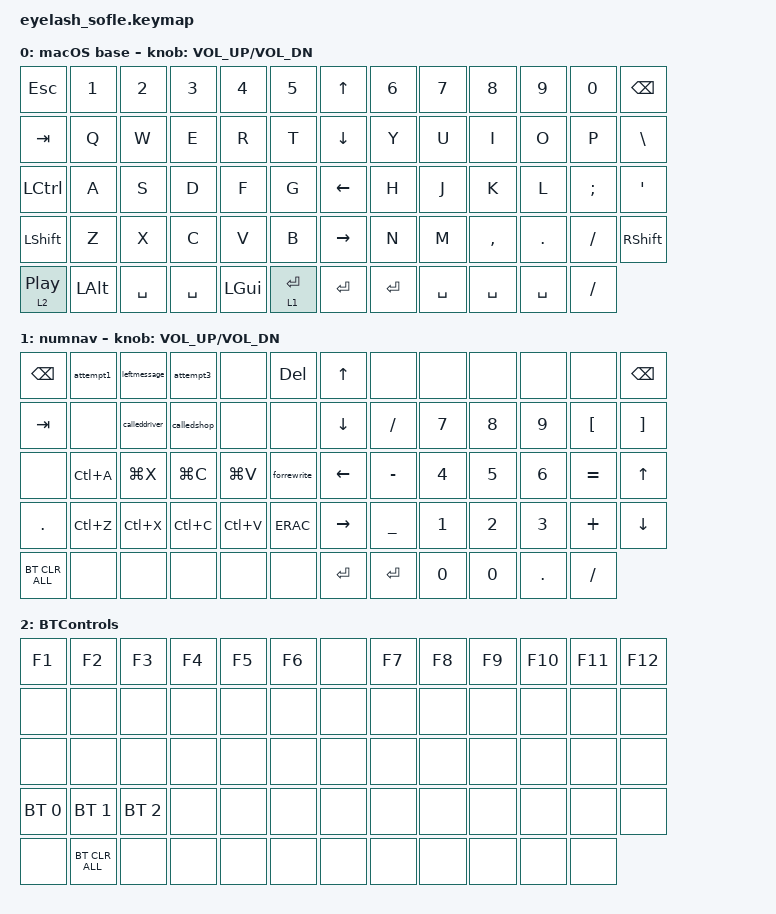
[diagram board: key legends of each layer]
#define ZMK_POINTING_DEFAULT_MOVE_VAL 1200  // 600
#define ZMK_POINTING_DEFAULT_SCRL_VAL 25   // 10

#include <input/processors.dtsi>
#include <zephyr/dt-bindings/input/input-event-codes.h>
#include <behaviors.dtsi>
#include <dt-bindings/zmk/bt.h>
#include <dt-bindings/zmk/keys.h>
#include <dt-bindings/zmk/pointing.h>

&mmv_input_listener { input-processors = <&zip_xy_scaler 2 1>; };

&msc_input_listener { input-processors = <&zip_scroll_scaler 2 1>; };

&msc {
    acceleration-exponent = <0>;      // 0
    time-to-max-speed-ms = <1>;       // 300
    delay-ms = <0>;                   // 0
};

&mmv {
    time-to-max-speed-ms = <60>;
    acceleration-exponent = <0>;
};

&mt {
    tapping-term-ms = <260>;
    flavor = "tap-preferred";
    require-prior-idle-ms = <0>;
    quick-tap-ms = <0>;
    bindings = <&kp>, <&kp>;
};

/ {
    scroll_encoder: scroll_encoder {
        compatible = "zmk,behavior-sensor-rotate";
        #sensor-binding-cells = <0>;
        bindings = <&msc SCRL_DOWN>, <&msc SCRL_UP>;

        tap-ms = <100>;
    };

    behaviors {
    };

    combos {
        compatible = "zmk,combos";

        copy {
            bindings = <&kp LC(C)>;
            key-positions = <41 42>;
            layers = <0 1>;
        };

        paste {
            bindings = <&kp LC(V)>;
            key-positions = <42 43>;
            layers = <0 1>;
        };

        delete {
            bindings = <&kp DELETE>;
            key-positions = <5 4>;
            layers = <0 1>;
        };

        elemail {
            bindings = <&elemail>;
            key-positions = <57 56 44>;
            layers = <0>;
        };

        eracmail {
            bindings = <&eracmail>;
            key-positions = <5 4 18>;
            layers = <0>;
        };

        selectall {
            bindings = <&kp LC(A)>;
            key-positions = <26 27>;
            layers = <0 1>;
        };

        undo {
            bindings = <&kp LC(Z)>;
            key-positions = <39 40>;
            layers = <0 1>;
        };

        backspace {
            bindings = <&kp BACKSPACE>;
            key-positions = <0 1>;
            layers = <0 1>;
        };

        mission {
            bindings = <&kp LC(UP_ARROW)>;
            key-positions = <39 57>;
        };

        bt0 {
            bindings = <&bt BT_SEL 0>;
            key-positions = <0 1 2>;
            layers = <0>;
        };

        bt1 {
            bindings = <&bt BT_SEL 1>;
            key-positions = <5 4 3>;
            layers = <0>;
        };

        mb3 {
            bindings = <&mkp MB3>;
            key-positions = <30 29>;
            layers = <0 1>;
        };

        forrewrite {
            bindings = <&forrewrite>;
            key-positions = <43 42 41>;
        };

        awaitcei {
            bindings = <&awaitingupdate>;
            key-positions = <26 31>;
            layers = <0>;
        };

        userID {
            bindings = <&UID>;
            key-positions = <0 5>;
            layers = <0>;
        };

        pass {
            bindings = <&number4money>;
            key-positions = <13 18>;
            layers = <0>;
        };

        emailedBM {
            bindings = <&Emailedbranch>;
            key-positions = <0 57>;
            layers = <0>;
        };

        andassist {
            bindings = <&andassmgr>;
            key-positions = <1 57>;
            layers = <0>;
        };

        andareamgr {
            bindings = <&andareamanager>;
            key-positions = <2 57>;
            layers = <0>;
        };

        calledshop {
            bindings = <&calledshop>;
            key-positions = <57 5>;
            layers = <0>;
        };

        calleddriver {
            bindings = <&calleddriver>;
            key-positions = <4 57>;
            layers = <0>;
        };

        ERAC {
            bindings = <&ERAC>;
            key-positions = <55 54>;
        };

        noteaiopen {
            bindings = <&notedAIopen>;
            key-positions = <1 14>;
            layers = <0>;
        };

        repaircomp {
            bindings = <&repairscomp>;
            key-positions = <0 13>;
            layers = <0>;
        };

        totalloss {
            bindings = <&totall>;
            key-positions = <39 26>;
        };

        alertedcst {
            bindings = <&alertcst>;
            key-positions = <27 40>;
        };

        alert2cm {
            bindings = <&alerttocm>;
            key-positions = <53 54>;
        };

        ext30days {
            bindings = <&days30>;
            key-positions = <57 56>;
        };

        ext10days {
            bindings = <&days10>;
            key-positions = <57 44>;
        };

        pernonmanage {
            bindings = <&perwork>;
            key-positions = <57 55>;
            layers = <0>;
        };

        unkn {
            bindings = <&unkn>;
            key-positions = <17 30>;
            layers = <0>;
        };

        leftmessage {
            bindings = <&leftmessage>;
            key-positions = <43 44 42>;
            layers = <0>;
        };

        disconnected {
            bindings = <&disconnected>;
            key-positions = <16 17 18>;
            layers = <0>;
        };

        novm {
            bindings = <&novm>;
            key-positions = <31 30 29>;
        };

        calledbranch {
            bindings = <&calledbranch>;
            key-positions = <57 3>;
        };
    };

    macros {
        forrewrite: forrewrite {
            compatible = "zmk,behavior-macro";
            #binding-cells = <0>;
            bindings = <&kp SPACE &kp F &kp O &kp R &kp SPACE &kp R &kp E &kp W &kp R &kp I &kp T &kp E &kp SPACE>;
            label = "FORREWRITE";
        };

        awaitingupdate: awaitingupdate {
            compatible = "zmk,behavior-macro";
            #binding-cells = <0>;
            bindings = <&kp A &kp W &kp A &kp I &kp T &kp I &kp N &kp G &kp SPACE &kp LS(C) &kp LS(E) &kp LS(I) &kp SPACE &kp U &kp P &kp D &kp A &kp T &kp E>;
            label = "AWAITINGUPDATE";
        };

        UID: UID {
            compatible = "zmk,behavior-macro";
            #binding-cells = <0>;
            bindings = <&kp E &kp N4 &kp N8 &kp N9 &kp P &kp T>;
            label = "UID";
        };

        elemail: elemail {
            compatible = "zmk,behavior-macro";
            #binding-cells = <0>;
            bindings = <&kp E &kp K &kp E &kp I &kp T &kp H &kp AT &kp E &kp L &kp E &kp M &kp E &kp N &kp T &kp C &kp O &kp R &kp P &kp DOT &kp C &kp O &kp M>;
            label = "ELEMAIL";
        };

        eracmail: eracmail {
            compatible = "zmk,behavior-macro";
            #binding-cells = <0>;
            bindings = <&kp E &kp R &kp I &kp C &kp DOT &kp K &kp E &kp I &kp T &kp H &kp AT &kp E &kp H &kp I &kp DOT &kp C &kp O &kp M>;
            label = "ERACMAIL";
        };

        andareamanager: arearewrite {
            compatible = "zmk,behavior-macro";
            #binding-cells = <0>;
            bindings = <&kp A &kp N &kp D &kp SPACE &kp LS(A) &kp R &kp E &kp A &kp SPACE &kp LS(M) &kp A &kp N &kp A &kp G &kp E &kp R &kp SPACE>;
            label = "AREAREWRITE";
        };

        calledshop: calledshop {
            compatible = "zmk,behavior-macro";
            #binding-cells = <0>;
            bindings = <&kp C &kp A &kp L &kp L &kp E &kp D &kp SPACE &kp S &kp H &kp O &kp P &kp SPACE>;
            label = "CALLEDSHOP";
        };

        calleddriver: calleddriver {
            compatible = "zmk,behavior-macro";
            #binding-cells = <0>;
            bindings = <&kp C &kp A &kp L &kp L &kp E &kp D &kp SPACE &kp D &kp R &kp I &kp V &kp E &kp R &kp SPACE>;
            label = "CALLEDDRIVER";
        };

        emaileddriver: email2driv {
            compatible = "zmk,behavior-macro";
            #binding-cells = <0>;
            bindings = <&kp LS(E) &kp M &kp A &kp I &kp L &kp E &kp D &kp SPACE &kp T &kp O &kp SPACE &kp D &kp R &kp I &kp V &kp E &kp R>;
            label = "email2driv";
        };

        days10: days10 {
            compatible = "zmk,behavior-macro";
            #binding-cells = <0>;
            bindings = <&kp E &kp X &kp T &kp E &kp N &kp D &kp E &kp D &kp SPACE &kp N1 &kp N0 &kp SPACE &kp D &kp A &kp Y &kp S &kp SPACE>;
            label = "DAYS10";
        };

        days30: days30 {
            compatible = "zmk,behavior-macro";
            #binding-cells = <0>;
            bindings = <&kp E &kp X &kp T &kp E &kp N &kp D &kp E &kp D &kp SPACE &kp N3 &kp N0 &kp SPACE &kp D &kp A &kp Y &kp S &kp SPACE>;
            label = "DAYS30";
        };

        perwork: perwork {
            compatible = "zmk,behavior-macro";
            #binding-cells = <0>;
            bindings = <&kp P &kp E &kp R &kp SPACE &kp N &kp O &kp N &kp SPACE &kp M &kp A &kp N &kp A &kp G &kp E &kp D &kp SPACE &kp W &kp O &kp R &kp K &kp F &kp L &kp O &kp W>;
            label = "PERWORK";
        };

        number4money: number4money {
            compatible = "zmk,behavior-macro";
            #binding-cells = <0>;
            bindings = <&kp LS(S) &kp T &kp O &kp R &kp Y &kp W &kp A &kp R &kp S &kp POUND &kp N4 &kp N5 &kp NUMBER_4>;
            label = "NUMBER4MONEY";
        };

        Emailedbranch: Emailedbranch {
            compatible = "zmk,behavior-macro";
            #binding-cells = <0>;
            bindings = <&kp LS(E) &kp M &kp A &kp I &kp L &kp E &kp D &kp SPACE &kp LS(B) &kp R &kp A &kp N &kp C &kp H &kp SPACE &kp LS(M) &kp A &kp N &kp A &kp G &kp E &kp R &kp SPACE>;
            label = "EMAILEDBRANCH";
        };

        andassmgr: andassmgr {
            compatible = "zmk,behavior-macro";
            #binding-cells = <0>;
            bindings = <&kp A &kp N &kp D &kp SPACE &kp LS(A) &kp S &kp S &kp I &kp S &kp T &kp A &kp N &kp T &kp SPACE &kp LS(M) &kp A &kp N &kp A &kp G &kp E &kp R &kp SPACE>;
            label = "ANDASSMGR";
        };

        andarea: andarea {
            compatible = "zmk,behavior-macro";
            #binding-cells = <0>;
            bindings = <&kp A &kp N &kp D &kp SPACE &kp LS(A) &kp R &kp E &kp A &kp SPACE &kp LS(M) &kp A &kp N &kp A &kp G &kp E &kp R &kp SPACE>;
            label = "ANDAREA";
        };

        calledbranch4: calledbranch4 {
            compatible = "zmk,behavior-macro";
            #binding-cells = <0>;
            bindings = <&kp C &kp A &kp L &kp L &kp E &kp D &kp SPACE &kp B &kp R &kp A &kp N &kp C &kp H &kp SPACE &kp T &kp O &kp SPACE &kp R &kp E &kp W &kp R &kp I &kp T &kp E &kp SPACE>;
            label = "CALLEDBRANCH4";
        };

        ERAC: ERAC {
            compatible = "zmk,behavior-macro";
            #binding-cells = <0>;
            bindings = <&kp E &kp R &kp A &kp C &kp SPACE>;
            label = "ERAC";
        };

        alertcst: alertcst {
            compatible = "zmk,behavior-macro";
            #binding-cells = <0>;
            bindings = <&kp A &kp L &kp E &kp R &kp T &kp E &kp D &kp SPACE &kp C &kp L &kp I &kp E &kp N &kp T &kp SPACE &kp S &kp E &kp R &kp V &kp I &kp C &kp E &kp S &kp SPACE>;
            label = "alertcst";
        };

        totall: totall {
            compatible = "zmk,behavior-macro";
            #binding-cells = <0>;
            bindings = <&kp T &kp O &kp T &kp A &kp L &kp SPACE &kp L &kp O &kp S &kp S &kp SPACE>;
            label = "TOTALL";
        };

        notedAIopen: notedAIopen {
            compatible = "zmk,behavior-macro";
            #binding-cells = <0>;
            bindings = <&kp LS(N) &kp O &kp T &kp E &kp D &kp SPACE &kp LS(A) &kp LS(I) &kp SLASH &kp LS(X) &kp C &kp E &kp L &kp E &kp R &kp A &kp T &kp E &kp SPACE>;
            label = "notedAIopen";
        };

        repairscomp: repairscomp {
            compatible = "zmk,behavior-macro";
            #binding-cells = <0>;
            bindings = <&kp R &kp E &kp P &kp A &kp I &kp R &kp SPACE &kp C &kp O &kp M &kp P &kp L &kp E &kp T &kp E &kp COMMA &kp SPACE &kp R &kp E &kp N &kp T &kp A &kp L &kp SPACE &kp O &kp P &kp E &kp N &kp SPACE>;
            label = "REPAIRSCOMP";
        };

        alerttocm: alerttocm {
            compatible = "zmk,behavior-macro";
            #binding-cells = <0>;
            bindings = <&none &kp A &kp L &kp E &kp R &kp T &kp SPACE &kp T &kp O &kp SPACE &kp C &kp M &kp SPACE>;
            label = "ALERTTOCM";
        };

        unkn: unkn {
            compatible = "zmk,behavior-macro";
            #binding-cells = <0>;
            bindings = <&kp U &kp N &kp K &kp N>;
            label = "UNKN";
        };

        leftmessage: leftmessage {
            compatible = "zmk,behavior-macro";
            #binding-cells = <0>;
            bindings = <&kp L &kp M &kp SPACE &kp F &kp O &kp R &kp SPACE &kp U &kp P &kp D &kp A &kp T &kp E &kp COMMA &kp SPACE &kp A &kp T &kp T &kp E &kp M &kp P &kp T &kp SPACE>;
            label = "LEFTMESSAGE";
        };

        disconnected: disconnected {
            compatible = "zmk,behavior-macro";
            #binding-cells = <0>;
            bindings = <&kp D &kp I &kp S &kp C &kp O &kp N &kp N &kp E &kp C &kp T &kp SPACE &kp P &kp E &kp R &kp SPACE &kp H &kp O &kp L &kp D &kp COMMA &kp SPACE &kp A &kp T &kp T &kp E &kp M &kp P &kp T &kp SPACE>;
            label = "DISCONNECTED";
        };

        novm: novm {
            compatible = "zmk,behavior-macro";
            #binding-cells = <0>;
            bindings = <&kp N &kp O &kp SPACE &kp A &kp N &kp S &kp W &kp E &kp R &kp SPACE &kp O &kp R &kp SPACE &kp V &kp M &kp COMMA &kp SPACE &kp A &kp T &kp T &kp E &kp M &kp P &kp T &kp SPACE>;
            label = "NOVM";
        };

        calledbranch: calledbranch {
            compatible = "zmk,behavior-macro";
            #binding-cells = <0>;
            bindings = <&kp C &kp A &kp L &kp L &kp E &kp D &kp SPACE &kp B &kp R &kp A &kp N &kp C &kp H &kp SPACE>;
            label = "CALLEDBRANCH";
        };

        asdf: asdf {
            compatible = "zmk,behavior-macro";
            #binding-cells = <0>;
            bindings = <&kp A &kp S &kp D &kp F>;
            label = "ASDF";
        };

        attempt: attempt {
            compatible = "zmk,behavior-macro";
            #binding-cells = <0>;
            bindings = <&kp LS(E) &kp LS(R) &kp LS(A) &kp LS(C) &kp SPACE &kp LS(A) &kp T &kp T &kp E &kp M &kp P &kp T &kp SPACE>;
            label = "ATTEMPT";
        };

        attempt1: attempt1 {
            compatible = "zmk,behavior-macro";
            #binding-cells = <0>;
            bindings = <&kp LS(E) &kp LS(R) &kp LS(A) &kp LS(C) &kp SPACE &kp A &kp T &kp T &kp E &kp M &kp P &kp T &kp SPACE>;
            label = "ATTEMPT1";
        };

        attempt3: attempt3 {
            compatible = "zmk,behavior-macro";
            #binding-cells = <0>;
            bindings = <&kp E &kp M &kp A &kp I &kp L &kp E &kp D &kp SPACE &kp S &kp H &kp O &kp P &kp SPACE>;
            label = "ATTEMPT3";
        };
    };

    keymap {
        compatible = "zmk,keymap";

        macBase {
            display-name = "macOS base";
            bindings = <
&kp ESCAPE          &kp NUMBER_1  &kp NUMBER_2  &kp NUMBER_3  &kp NUMBER_4  &kp NUMBER_5    &kp UP_ARROW  &kp NUMBER_6  &kp NUMBER_7  &kp NUMBER_8  &kp NUMBER_9  &kp NUMBER_0   &kp BACKSPACE
&kp TAB             &kp Q         &kp W         &kp E         &kp R         &kp T           &kp DOWN      &kp Y         &kp U         &kp I         &kp O         &kp P          &kp BACKSLASH
&kp LEFT_CONTROL    &kp A         &kp S         &kp D         &kp F         &kp G           &kp LEFT      &kp H         &kp J         &kp K         &kp L         &kp SEMICOLON  &kp SQT
&kp LEFT_SHIFT      &kp Z         &kp X         &kp C         &kp V         &kp B           &kp RIGHT     &kp N         &kp M         &kp COMMA     &kp PERIOD    &kp SLASH      &kp RIGHT_SHIFT
&lt 2 C_PLAY_PAUSE  &kp LEFT_ALT  &kp SPACE     &kp SPACE     &kp LEFT_GUI  &lt 1 RET       &kp RET       &kp RET       &kp SPACE     &kp SPACE     &kp SPACE     &kp SLASH
            >;

            sensor-bindings = <&inc_dec_kp C_VOLUME_UP C_VOL_DN>;
        };

        numnav {
            bindings = <
&kp BACKSPACE   &attempt1  &leftmessage   &attempt3    &none      &kp DELETE     &kp UP_ARROW     &none      &none         &none         &none         &none             &kp BACKSPACE
&kp TAB         &none      &calleddriver  &calledshop  &none      &none          &kp DOWN_ARROW   &kp SLASH  &kp N7        &kp N8        &kp N9        &kp LEFT_BRACKET  &kp RIGHT_BRACKET
&none           &kp LC(A)  &kp LG(X)      &kp LG(C)    &kp LG(V)  &forrewrite    &kp LEFT_ARROW   &kp MINUS  &kp NUMBER_4  &kp N5        &kp NUMBER_6  &kp EQUAL         &kp UP_ARROW
&kp PERIOD      &kp LC(Z)  &kp LC(X)      &kp LC(C)    &kp LC(V)  &ERAC          &kp RIGHT_ARROW  &kp UNDER  &kp NUMBER_1  &kp NUMBER_2  &kp NUMBER_3  &kp PLUS          &kp DOWN
&bt BT_CLR_ALL  &none      &none          &none        &none      &none          &kp ENTER        &kp RET    &kp N0        &kp NUMBER_0  &kp PERIOD    &kp SLASH
            >;

            sensor-bindings = <&inc_dec_kp C_VOLUME_UP C_VOL_DN>;
        };

        BTControls {
            bindings = <
&kp F1        &kp F2          &kp F3        &kp F4  &kp F5  &kp F6    &none  &kp F7  &kp F8  &kp F9  &kp F10  &kp F11  &kp F12
&none         &none           &none         &none   &none   &none     &none  &none   &none   &none   &none    &none    &none
&none         &none           &none         &none   &none   &none     &none  &none   &none   &none   &none    &none    &none
&bt BT_SEL 0  &bt BT_SEL 1    &bt BT_SEL 2  &none   &none   &none     &none  &none   &none   &none   &none    &none    &none
&none         &bt BT_CLR_ALL  &none         &none   &none   &none     &none  &none   &none   &none   &none    &none
            >;
        };
    };
};
